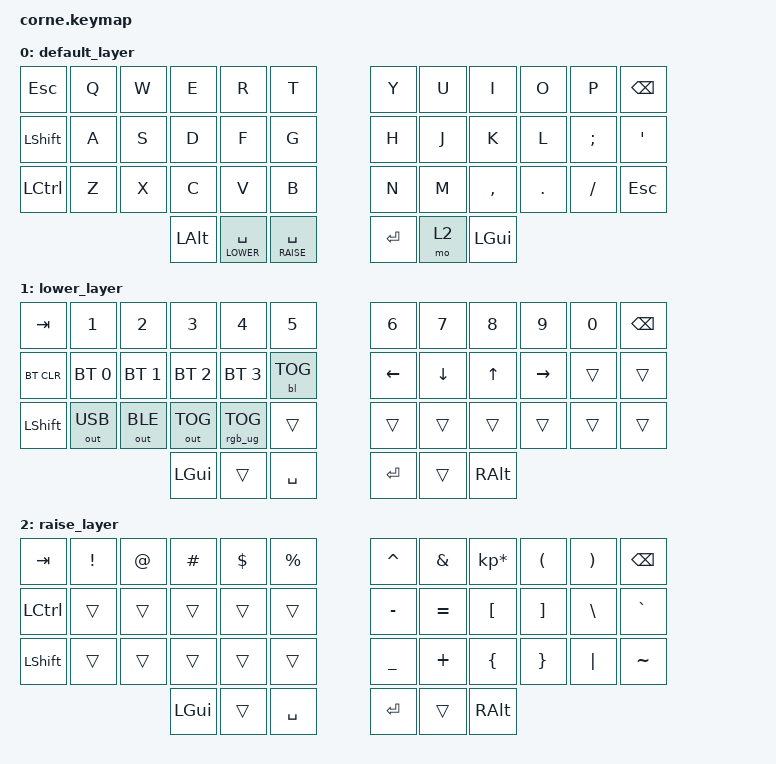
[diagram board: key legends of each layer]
/*
 * Copyright (c) 2020 The ZMK Contributors
 *
 * SPDX-License-Identifier: MIT
 */

#include <behaviors.dtsi>
#include <dt-bindings/zmk/keys.h>
#include <dt-bindings/zmk/bt.h>
#include <dt-bindings/zmk/outputs.h>
#include <dt-bindings/zmk/ext_power.h>
include <dt-bindings/led/led.h>
include <../boards/shields/corne/boards/nice_nano.overlay>
include <dt-bindings/zmk/rgb.h>
#include <dt-bindings/zmk/backlight.h>

/ {
        keymap {
                compatible = "zmk,keymap";

                default_layer {
// -----------------------------------------------------------------------------------------
// |  ESC |  Q  |  W  |  E  |  R  |  T  |               |  Y  |  U   |  I  |  O  |  P  | BKSP |
// | SHFT |  A  |  S  |  D  |  F  |  G  |               |  H  |  J   |  K  |  L  |  ;  |  '   |
// | CTRL |  Z  |  X  |  C  |  V  |  B  |               |  N  |  M   |  ,  |  .  |  /  | ESC  |
//                    | ALT | LWR | SPC |               | ENT | RSE  | GUI |
                        bindings = <
   &kp ESC   &kp Q &kp W &kp E &kp R &kp T   &kp Y &kp U  &kp I     &kp O   &kp P    &kp BSPC
   &kp LSHFT &kp A &kp S &kp D &kp F &kp G   &kp H &kp J  &kp K     &kp L   &kp SEMI &kp SQT
   &kp LCTRL &kp Z &kp X &kp C &kp V &kp B   &kp N &kp M  &kp COMMA &kp DOT &kp FSLH &kp ESC
                   &kp LALT &lt LOWER SPACE &lt RAISE SPACE   &kp RET &mo 2 &kp LGUI
                        >;
                };
                lower_layer {
// -----------------------------------------------------------------------------------------
// |  TAB |  1  |  2  |  3  |  4  |  5  |       |  6  |  7  |  8  |  9  |  0  | BKSP |
// | BTCLR| BT1 | BT2 | BT3 | BT4 | BT5 |       | LFT | DWN |  UP | RGT |     |      |
// | SHFT |OUT_USB|OUT_BLE|OUT_TOG|RGBTOG|       |     |       |          |  |         |         |      |
//                    | GUI |     | SPC |       | ENT |     | ALT |
                        bindings = <
   &kp TAB    &kp N1       &kp N2       &kp N3       &kp N4       &kp N5         &kp N6   &kp N7   &kp N8 &kp N9    &kp N0 &kp BSPC
   &bt BT_CLR &bt BT_SEL 0 &bt BT_SEL 1 &bt BT_SEL 2 &bt BT_SEL 3 &bl BL_TOG   &kp LEFT &kp DOWN &kp UP &kp RIGHT &trans &trans
   &kp LSHFT  &out OUT_USB &out OUT_BLE &out OUT_TOG &rgb_ug RGB_TOG &trans      &trans   &trans   &trans &trans    &trans &trans
                          	        &kp LGUI     &trans       &kp SPACE      &kp RET  &trans   &kp RALT
                        >;
                };

                raise_layer {
// -----------------------------------------------------------------------------------------
// |  TAB |  !  |  @  |  #  |  $  |  %  |   |  ^  |  &  |  *  |  (  |  )  | BKSP |
// | CTRL |     |     |     |     |     |   |  -  |  =  |  [  |  ]  |  \  |  `   |
// | SHFT |     |     |     |     |     |   |  _  |  +  |  {  |  }  | "|" |  ~   |
//                    | GUI |     | SPC |   | ENT |     | ALT |
                        bindings = <
   &kp  TAB  &kp EXCL &kp AT &kp HASH &kp DLLR &kp PRCNT   &kp CARET &kp AMPS  &kp KP_MULTIPLY &kp LPAR &kp RPAR &kp BSPC
   &kp LCTRL &trans   &trans &trans   &trans   &trans      &kp MINUS &kp EQUAL &kp LBKT        &kp RBKT &kp BSLH &kp GRAVE
   &kp LSHFT &trans   &trans &trans   &trans   &trans      &kp UNDER &kp PLUS  &kp LBRC        &kp RBRC &kp PIPE &kp TILDE
                    	     &kp LGUI &trans   &kp SPACE   &kp RET   &trans    &kp RALT
                        >;
                };
        };
};
